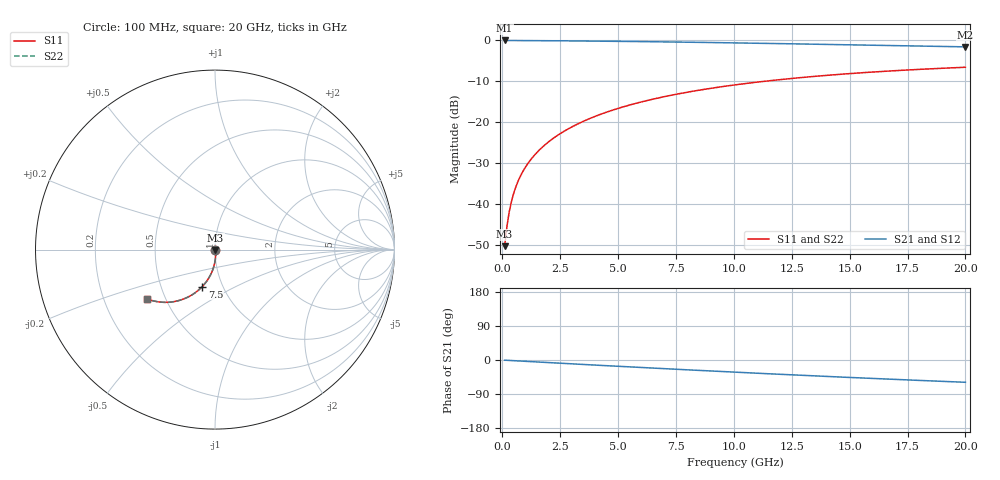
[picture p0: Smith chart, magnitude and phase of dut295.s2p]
! Touchstone file exported from HFSS 2026.1.0
!  File:  C:/ffzhzh/LocalFiles/Ansys_Project_Files/temp_train_BSMRDL_295_1782989350_42984.aedt
!  Generated:  06:50:55 PM Jul  2, 2026
!  Design:  BSMRDL
!  Project:  temp_train_BSMRDL_295_1782989350_42984
! Variables:
!  h_bsmrdl = 5.97um
!  h_ox = 20um
!  h_rdl = 5um
!  h_sub = 80um
!  h_tmrdl = 5um
!  h_tsv = 80um
!  h_via = 3um
!  l_bsmrdl = 924.61um
!  l_sub = 1324.61um
!  l_tmrdl = 200um
!  m_sub = 200um
!  pitch = 30.56um
!  r_tsv = 6um
!  s_tmrdl = 10um
!  w_bsmrdl = 29.09um
!  w_sub = 500um
!  w_tmrdl = 12um
!  x_tsv_center1 = 206um
!  x_tsv_center2 = 1159.7um
!  x_tsv_center3 = 1371.7um
!  x_tsv_center4 = 2325.4um
!  x_tsv_center5 = 2537.4um
!  x_tsv_center6 = 3491.1um
# GHz S MA R 50.000000
! Terminal data exported
! Port[1] = BSM_RDL1_1_T1
! Port[2] = BSM_RDL1_1_T2
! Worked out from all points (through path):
!   200 points, 100 MHz to 20 GHz, reference 50 ohm
!   highest |S21| = -0.02 dB at 100 MHz (marker M1); lowest = -1.6 dB at 20 GHz (marker M2)
!   group delay of S21, straight-line fit = 8.16 ps
!   lowest |S11| = -50.4 dB at 100 MHz (marker M3), VSWR 1.01, Z = 50.2 - j0.177 ohm
!   |S11| at or under -10 dB: start of sweep to 11.35 GHz
!   |S22| runs from -50.4 to -6.6 dB; largest |S21 - S12| = 1.1e-12
!   S11 on the Smith chart (normalised r, x): 100 MHz: 1.00, -0.00; 7.5 GHz: 0.80, -0.35; 20 GHz: 0.39, -0.28
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0.1  0.003021 -35.7  0.9975 -0.4  0.9975 -0.4  0.003021 -35.7
! Gamma 0 0 0 0
! Port Impedance 50 0 50 0
0.2  0.005265 -52.4  0.9967 -0.8  0.9967 -0.8  0.005265 -52.4
0.3  0.007961 -61.6  0.9961 -1.1  0.9961 -1.1  0.007961 -61.6
0.4  0.01079 -67.6  0.9956 -1.5  0.9956 -1.5  0.01079 -67.6
0.5  0.01366 -71.7  0.9953 -1.8  0.9953 -1.8  0.01366 -71.7
0.6  0.01653 -74.7  0.995 -2.1  0.995 -2.1  0.01653 -74.7
0.7  0.01941 -77.0  0.9947 -2.5  0.9947 -2.5  0.01941 -77.0
0.8  0.02229 -78.9  0.9944 -2.8  0.9944 -2.8  0.02229 -78.9
1  0.02805 -81.6  0.9939 -3.5  0.9939 -3.5  0.02805 -81.6
1.4  0.03963 -85.2  0.9926 -4.8  0.9926 -4.8  0.03963 -85.2
1.7  0.04839 -87.1  0.9915 -5.8  0.9915 -5.8  0.04839 -87.1
2  0.05722 -88.7  0.9902 -6.9  0.9902 -6.9  0.05722 -88.7
2.7  0.07805 -91.8  0.9869 -9.2  0.9869 -9.2  0.07805 -91.8
3.5  0.1021 -95.0  0.9825 -11.8  0.9825 -11.8  0.1021 -95.0
4.2  0.1231 -97.6  0.9783 -14.1  0.9783 -14.1  0.1231 -97.6
5  0.1469 -100.5  0.9731 -16.6  0.9731 -16.6  0.1469 -100.5
6.8  0.199 -106.8  0.96 -22.3  0.96 -22.3  0.199 -106.8
7.5  0.2185 -109.1  0.9543 -24.4  0.9543 -24.4  0.2185 -109.1
10.1  0.2864 -117.4  0.9311 -32.2  0.9311 -32.2  0.2864 -117.4
13.4  0.3607 -127.1  0.8984 -41.7  0.8984 -41.7  0.3607 -127.1
16.7  0.4213 -136.0  0.8648 -50.5  0.8648 -50.5  0.4213 -136.0
20  0.4685 -144.2  0.8329 -58.8  0.8329 -58.8  0.4685 -144.2
